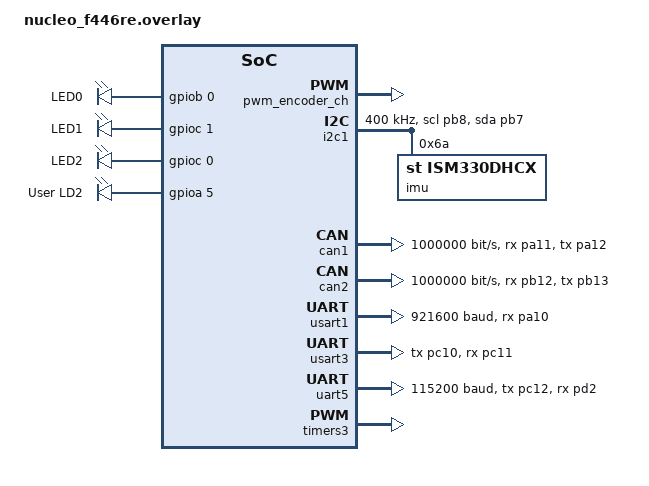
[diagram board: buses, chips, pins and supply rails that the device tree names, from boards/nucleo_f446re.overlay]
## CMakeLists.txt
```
cmake_minimum_required(VERSION 3.20.0)

set(CONF_FILE
    "${CMAKE_CURRENT_SOURCE_DIR}/../robots.conf"
    "${CMAKE_CURRENT_SOURCE_DIR}/prj.conf"
)

find_package(Zephyr REQUIRED HINTS $ENV{ZEPHYR_BASE})
project(Infantry)

add_subdirectory(${CMAKE_CURRENT_SOURCE_DIR}/../../core core_build)

target_sources(app PRIVATE src/infantry.cpp)
target_include_directories(app PRIVATE ${CMAKE_CURRENT_SOURCE_DIR}/../../core)

# Otherwise has trouble getting core since it's up a level on the directory
target_link_libraries(app PRIVATE core)
```

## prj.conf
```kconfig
# I commented everything out since everything in here was ported to robots.conf



# CONFIG_MAIN_STACK_SIZE=16384
# CONFIG_HEAP_MEM_POOL_SIZE=16384

# # SWO logging
# CONFIG_LOG=y
# CONFIG_LOG_BACKEND_SWO=y
# # Logs go to SWO only, not the console UART, will not show in serial monitor
# CONFIG_LOG_BACKEND_UART=n
# # Route printk through logging (and so to SWO)
# CONFIG_LOG_PRINTK=y
# # Don't block the 500 Hz control loop
# CONFIG_LOG_MODE_DEFERRED=y
# # 1.5 MHz, must match the SWO setting in Ozone
# CONFIG_LOG_BACKEND_SWO_FREQ_HZ=1500000
# # Needed for %f in LOG_* and printk
# CONFIG_CBPRINTF_FP_SUPPORT=y

# # enable GPIO subsystem
# CONFIG_GPIO=y

# # C++ config
# CONFIG_CPP=y
# CONFIG_STD_CPP17=y
# CONFIG_GLIBCXX_LIBCPP=y
# CONFIG_CPP_EXCEPTIONS=y

# # CAN
# CONFIG_CAN=y

# #I2C
# CONFIG_I2C=y

# #PWM
# CONFIG_PWM=y
# CONFIG_PWM_CAPTURE=y

# #UART
# CONFIG_SERIAL=y
# CONFIG_UART_INTERRUPT_DRIVEN=y
# CONFIG_DMA=y
# CONFIG_UART_ASYNC_API=y

# #Power Management
# CONFIG_PM=n
# CONFIG_PM_DEVICE=y

# #Asserts
# CONFIG_ASSERT=y

# # CONFIG_HW_STACK_PROTECTION=y
# # CONFIG_MPU_STACK_GUARD=y

# # CONFIG_THREAD_STACK_INFO=y
# # CONFIG_THREAD_ANALYZER=y
# # CONFIG_THREAD_ANALYZER_AUTO=y
# # CONFIG_THREAD_ANALYZER_AUTO_INTERVAL=5

# # CONFIG_STACK_SENTINEL=y

# # CONFIG_DEBUG_COREDUMP=y
# # CONFIG_DEBUG_COREDUMP_BACKEND_LOGGING=y
# # CONFIG_DEBUG_COREDUMP_MEMORY_DUMP_MIN=y
# CONFIG_PRINTK=y
# CONFIG_CBPRINTF_FP_SUPPORT=y
```

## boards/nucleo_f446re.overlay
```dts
// Something to consider is what the diff is between using either of these clocks

// &clk_hsi {
//     status = "okay";
// };

// &clk_hse {
//     status = "disabled";
// };

// &pll {
//     clocks = <&clk_hsi>;
//     div-m = <16>;
//     mul-n = <384>;
//     div-p = <4>;
//     status = "okay";
// };

&clk_hse { status = "okay"; };
&clk_hsi { status = "disabled"; };
&pll { clocks = <&clk_hse>; };

&dma1 {
    status = "disabled";
};

&dma2 {
    status = "okay";
};

&i2c1 {
    pinctrl-0 = <&i2c1_scl_pb8 &i2c1_sda_pb7>;
    pinctrl-names = "default";
    status = "okay";
    clock-frequency = <400000>;

    imu: ism330@6a {
        compatible = "st,ism330dhcx";
        reg = <0x6a>;
    };
};

&can1 {
    pinctrl-0 = <&can1_rx_pa11 &can1_tx_pa12>;
    pinctrl-names = "default";
    status = "okay";
    bitrate = <1000000>;
};

&can2 {
    pinctrl-0 = <&can2_rx_pb12 &can2_tx_pb13>;
    pinctrl-names = "default";
    status = "okay";
    bitrate = <1000000>;
};

&usart1 { //Controller
    pinctrl-0 = <&usart1_rx_pa10>; // tx isn't connected because this is the controller
    pinctrl-names = "default";
    status = "okay";
    current-speed = <921600>;

    dmas = <&dma2 2 4 STM32_DMA_PERIPH_RX STM32_DMA_FIFO_FULL>;
        dma-names = "rx";
};

&usart3 { //Ref
    pinctrl-0 = <&usart3_tx_pc10 &usart3_rx_pc11>;
    pinctrl-names = "default";
    status = "okay";
};

&uart5 {
    pinctrl-0 = <&uart5_tx_pc12 &uart5_rx_pd2>;
    pinctrl-names = "default";
    status = "okay";
    current-speed = <115200>;
};

&timers3 { // Encoder | PWM is done thru timer node, PB_4 is timer3 channel 1
    status = "okay";
    st,prescaler = <3>;   // tune below

    pwm3: pwm {
        compatible = "st,stm32-pwm";
        status = "okay";
        pinctrl-0 = <&tim3_ch1_pb4>;
        pinctrl-names = "default";
        #pwm-cells = <3>;
    };
};

/ {
    pwm_encoder_ch: zephyr,user { //Node has to be named "zephyr,user" so it compiles
        pwms = <&pwm3 1 PWM_MSEC(20) PWM_POLARITY_NORMAL>;
        status = "okay";
    };
};

&i2c3 {
	status = "disabled";
};

/* The sigular slash below indicates that we're just making a new node
Unlike the ones above, which were already declared for us in the
root dts file Zephyr has for us, this LED node is specific to us */
/ {
    leds {
        compatible = "gpio-leds";
        led0: led_0 {
            gpios = <&gpiob 0 GPIO_ACTIVE_HIGH>;
            label = "LED0";
        };
        led1: led_1 {
            gpios = <&gpioc 1 GPIO_ACTIVE_HIGH>;
            label = "LED1";
        };
        led2: led_2 {
            gpios = <&gpioc 0 GPIO_ACTIVE_HIGH>;
            label = "LED2";
        };

        LD2: LD_2 {
            gpios = <&gpioa 5 GPIO_ACTIVE_HIGH>;
            label = "User LD2";
        };
    };

    aliases {
        //Left hand side lives in a diff namespace than right hand side
        //So this doesn't break everything I swear
        led0 = &led0;
        led1 = &led1;
        led2 = &led2;
    };
};

  &gpiob {
       status = "okay";
   };

   &gpioc {
       status = "okay";
   };
```

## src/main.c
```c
#include <zephyr/kernel.h>
#include <zephyr/drivers/gpio.h>
#include <stdio.h>


const struct device *gpio_devb = DEVICE_DT_GET(DT_NODELABEL(gpiob));
const struct device *gpio_devc= DEVICE_DT_GET(DT_NODELABEL(gpioc));

int main(void)
{
    if (!device_is_ready(gpio_devb) || !device_is_ready(gpio_devc)) {
        printf("GPIO device not ready!\n");
        return 0;
    }

    gpio_pin_configure(gpio_devb, 0, GPIO_OUTPUT);
    gpio_pin_configure(gpio_devc, 1, GPIO_OUTPUT);
    gpio_pin_configure(gpio_devc, 0, GPIO_OUTPUT);
    int timer = 0;

    while(1) {
        timer++;
        if (timer % 50 == 0) {
            gpio_pin_toggle(gpio_devb, 0);
        }

        if (timer % 200 == 0) {
            gpio_pin_toggle(gpio_devc, 1);
        }

        if (timer % 500 == 0) {
            gpio_pin_toggle(gpio_devc, 0);
        }

        k_usleep(1000);
    }
}
```

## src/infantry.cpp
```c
// #include "stm32f446xx.h"
#include <zephyr/drivers/i2c.h>
#include <zephyr/drivers/pwm.h>
#include <zephyr/kernel.h>
#include <zephyr/drivers/gpio.h>
#include <zephyr/device.h>
#include <zephyr/devicetree.h>
#include <stdio.h>
#include <util/communications/DJIRemote2.h>
#include <util/communications/CANHandler.h>
#include <util/communications/jetson/Jetson.h>
#include <util/peripherals/imu/ISM330.h>
#include <util/algorithms/PID.h>
#include <base_robot/BaseRobot.h>
#include <zephyr/dt-bindings/pwm/pwm.h>
#include <zephyr/logging/log.h>
#include <algorithm>
#include <zephyr/sys/printk.h>

// LOG_MODULE_REGISTER(infantry, LOG_LEVEL_INF);   // This basically sets the log level of infantry to "INFormation"
                                                // Infantry logs should be preceeded with "infantry"

// Robot Constants
constexpr float PITCH_LOWER_BOUND{-22.0};
constexpr float PITCH_UPPER_BOUND{25.0};

constexpr float JOYSTICK_YAW_SENSITIVITY_DPS = 300;
constexpr float JOYSTICK_PITCH_SENSITIVITY_DPS = 150;
// Mouse sensitivity initialized
constexpr float MOUSE_SENSITIVITY_YAW_DPS = 1.0;
constexpr float MOUSE_SENSITIVITY_PITCH_DPS = 1.0;

// constexpr PID::config YAW_VEL_PID     = {181, 3.655 * 10e-3, 4.51 * 7.5, 32000, 1000};
constexpr PID::config YAW_VEL_PID     = {181,0,10.0f, 32000, 1000};
constexpr PID::config YAW_POS_PID     = {1, 0, 0, 45, 2};
const float yaw_static_friction       = 0;//-150;       // We multiply it by dir
const float yaw_kinetic_friction      = 0;       // We multiply this by yawvelo

constexpr PID::config PITCH_VEL_PID   = {173.8994f, 4.898f * 1000.0f * static_cast<float>(10e-6), 12.474f * static_cast<float>(10e3) * 1.5f / 1000.0f, 16000, 2000}; //{25, 0.001, 5, 16000, 1000};
// constexpr PID::config PITCH_VEL_PID = {170, 0, 1200, 16000,2000}; //{25, 0.001, 5, 16000, 1000};
constexpr PID::config PITCH_POS_PID   = {1, 0, 0,30,2}; //{1, 0, 0, 30, 2};
const float pitch_gravity_feedforward = -1200;    // We multiply this by cos(angle)
const float pitch_static_friction     = 0;       // We multiply it by dir
const float pitch_kinetic_friction    = 0; //5.5;     // We multiply this by pitchvelo

constexpr PID::config FL_VEL_CONFIG = {3, 0, 0};
constexpr PID::config FR_VEL_CONFIG = {3, 0, 0};
constexpr PID::config BL_VEL_CONFIG = {3, 0, 0};
constexpr PID::config BR_VEL_CONFIG = {3, 0, 0};

constexpr PID::config FLYWHEEL_L_PID = {7.1849, 0.000042634, 0};
constexpr PID::config FLYWHEEL_R_PID = {7.1849, 0.000042634, 0};
constexpr PID::config INDEXER_PID_VEL = {2.7, 0.001, 0};
constexpr PID::config INDEXER_PID_POS = {0.1, 0, 0.001};


const struct device *gpio_devb = DEVICE_DT_GET(DT_NODELABEL(gpiob));
const struct device *gpio_devc= DEVICE_DT_GET(DT_NODELABEL(gpioc));

// Devices from DT

const struct device *canbus1_dev = DEVICE_DT_GET(DT_NODELABEL(can1));

const struct device *canbus2_dev = DEVICE_DT_GET(DT_NODELABEL(can2));
constexpr short yaw_id = 3;
constexpr short pitch_id = 5;

const struct gpio_dt_spec led0_dev = GPIO_DT_SPEC_GET(DT_ALIAS(led0), gpios);
const struct gpio_dt_spec led1_dev = GPIO_DT_SPEC_GET(DT_ALIAS(led1), gpios);
const struct gpio_dt_spec led2_dev = GPIO_DT_SPEC_GET(DT_ALIAS(led2), gpios);


static const struct i2c_dt_spec imu_spec = I2C_DT_SPEC_GET(DT_NODELABEL(imu));

static const struct pwm_dt_spec encoderSpec = PWM_DT_SPEC_GET(DT_NODELABEL(pwm_encoder_ch));
static const struct device *controllerUart = DEVICE_DT_GET(DT_NODELABEL(usart1));
static const struct device *refUartDev = DEVICE_DT_GET(DT_NODELABEL(usart3));
// DJIRemote2 controller(controllerUart);

static const struct device *jetsonUart = DEVICE_DT_GET(DT_NODELABEL(uart5));

// Subsystem Configs
TurretSubsystem::config turret_config = {
    canbus1_dev,
    CANHandler::CANBUS_1,
    yaw_id,
    M3508,
    canbus2_dev,
    CANHandler::CANBUS_2, // TODO: Ideally we could grab canbus thru the device
    pitch_id,
    M3508,
    YAW_VEL_PID,
    YAW_POS_PID,
    PITCH_VEL_PID,
    PITCH_POS_PID,
    yaw_static_friction,
    yaw_kinetic_friction,
    pitch_gravity_feedforward,
    pitch_static_friction,
    pitch_kinetic_friction,
    1,
    1.0/3.0,
    PITCH_LOWER_BOUND,
    PITCH_UPPER_BOUND
};
ShooterSubsystem::config shooter_config = {
    canbus2_dev,
    CANHandler::CANBUS_2,
    ShooterSubsystem::BURST,
    0,
    2,
    4,
    6,
    FLYWHEEL_L_PID,
    FLYWHEEL_R_PID,
    INDEXER_PID_VEL,
    INDEXER_PID_POS,
    false
};

// State variables
ChassisSpeeds des_chassis_state;
TurretSubsystem::TurretInfo des_turret_state;
ShootState des_shoot_state;

float pitch_desired_angle = 0.0;
float yaw_desired_angle = 0.0;
float dt_global = 0.0;

IMU::EulerAngles imuAngles;

class Infantry : public BaseRobot {
  public:
    ISM330 imu_;
    MA4 encoder_;  
    // BufferedSerial jetson_raw_serial;
    Jetson jetson;

    Jetson::WriteState stm_state;
    Jetson::ReadState jetson_state;

    TurretSubsystem turret_;
    ShooterSubsystem shooter_;
    ChassisSubsystem chassis_;

    bool imu_initialized{false};

    Infantry(Config &config)
        : BaseRobot(config),
          // clang-format off
        imu_(imu_spec),
        // encoder_(PB_4),
        encoder_(&encoderSpec),

        // jetson_raw_serial(PC_12, PD_2,115200),
        // jetson(jetson_raw_serial),
        jetson(jetsonUart),
        turret_(turret_config, imu_),
        shooter_(shooter_config),

        // TODO add passing in individual PID objects for the motors
        chassis_(ChassisSubsystem::Config{
            .left_front_can_id = 5,      
            .right_front_can_id = 1,      
            .left_back_can_id = 2,      
            .right_back_can_id = 4,      
            .radius = 0.22617,  
            .speed_pid_ff_ks = 0.065,    
            .yaw_initial_offset_ticks = 232.0f, // Note that for now this is in degrees     
            .imu = imu_,
            .encoder = &encoder_   
        }
        )
    // clang-format on
    {
        // pin_mode(IMU_I2C_SCL, PinMode::OpenDrainPullUp);
        // pin_mode(IMU_I2C_SDA, PinMode::OpenDrainPullUp);
    }

    ~Infantry() {}

    void init() override {
        // timer = us_ticker_read();
        if (!device_is_ready(controllerUart)) {
            printf("[ERROR] controllerUart (usart1) not ready!\n");
            }
        imu_.begin(0.9, 0);
        encoder_.init();
    }

    void periodic(unsigned long dt_us) override {
        // TODO this should be threaded inside imu instead
        imu_.mahonyUpdateIMU(dt_us / 1000000.0);
        imuAngles = imu_.getImuAngles();
        // TODO: use this in code correctly to drive faster
        max_linear_vel = MAX_VEL;
        des_chassis_state.vX = jy * max_linear_vel;
        des_chassis_state.vY = jx * max_linear_vel;

        // Read jetson
        jetson_state = jetson.read();
        // check if new jetson state given and if we want cv
        if (cv_enabled_ && (now_us() - jetson_state.stamp_us ) / 1000 < 500) {
            yaw_desired_angle = jetson_state.desired_yaw_rads * 180 / PI;
            pitch_desired_angle = jetson_state.desired_pitch_rads * 180 / PI;
        }

        // Turret from remote
        yaw_desired_angle -= myaw * 0.01f;
        yaw_desired_angle -= jyaw * JOYSTICK_YAW_SENSITIVITY_DPS * dt_us / 1000000;
        yaw_desired_angle = capAngle(yaw_desired_angle);
        des_turret_state.yaw_angle_degs = yaw_desired_angle;

        pitch_desired_angle -= mpitch * 0.01f;
        pitch_desired_angle -= jpitch * JOYSTICK_PITCH_SENSITIVITY_DPS * dt_us / 1000000;
        pitch_desired_angle = std::clamp(pitch_desired_angle, PITCH_LOWER_BOUND, PITCH_UPPER_BOUND);
        des_turret_state.pitch_angle_degs = pitch_desired_angle;

        // Chassis logic
        if (drive == 'u' || (drive == 'o' && remote_.getMode() == DJIRemote2::ModeSwitch::MODE_N)) {
            des_chassis_state.vOmega = 0;
            chassis_.setChassisSpeeds(des_chassis_state, ChassisSubsystem::DRIVE_MODE::YAW_ORIENTED);
            des_turret_state.turret_mode = TurretState::AIM;
            referee_.is_aligned = false;
            referee_.is_cv_on = false;
            referee_.is_spinning = false;
        }  else if (drive == 'd' || 
                   (drive == 'o' &&
                    remote_.getMode() == DJIRemote2::ModeSwitch::MODE_S)) {
            des_chassis_state.vOmega = omega_speed;
            chassis_.setChassisSpeeds(des_chassis_state, ChassisSubsystem::DRIVE_MODE::YAW_ORIENTED);
            des_turret_state.turret_mode = TurretState::AIM;
            referee_.is_aligned = false;
            referee_.is_cv_on = false;
            referee_.is_spinning = true;
        } else {
            chassis_.setWheelPower({0, 0, 0, 0});
            des_turret_state.turret_mode = TurretState::SLEEP;
            des_turret_state.yaw_angle_degs = turret_.getState().yaw_angle_degs;
            yaw_desired_angle = turret_.getState().yaw_angle_degs;
            des_turret_state.pitch_angle_degs = 0;
            referee_.is_aligned = false;
            referee_.is_cv_on = false;
            referee_.is_spinning = false;
        }

        // Shooter Logic 
        //REMOVED remote_.PAUSEToggled() == true && FROM THE FIRST CONDITION
        if ((remote_.PAUSEToggled() == true && remote_.TriggerPressed() == true) || remote_.getMouseL()) {
            des_shoot_state = ShootState::SHOOT;
        } else if (remote_.CUSTRPressed() == true && remote_.PAUSEToggled() == true) {
            des_shoot_state = ShootState::JAM;
        } else if (remote_.PAUSEToggled() == true || shot == 'd') {
            des_shoot_state = ShootState::FLYWHEEL;
            referee_.is_flywheel_on = true;
        } else {
            des_shoot_state = ShootState::OFF;
            referee_.is_flywheel_on = false;
        }

        turret_.setState(des_turret_state);
        shooter_.setState(des_shoot_state);

        turret_.periodic(chassis_.getChassisSpeeds().vOmega * 60 / (2 * PI));

        float lim = referee_.robot_status.chassis_power_limit;

        if (lim <= 0) {
            lim = 80;
        } 
        chassis_.power_limit = lim;
        
        
        chassis_.periodic(&imuAngles);
        shooter_.periodic(referee_.power_heat_data.shooter_17mm_barrel_heat,
                         referee_.robot_status.shooter_barrel_heat_limit);

        // jetson comms
        set_jetson_state();
        jetson.write(stm_state);

        // printf("time %.4f\n", dt_us / 1000000.0);

        // Debug print statements
        // printf("des: %.2f, %.2f, %.2f %d \n", jetson.read().desired_x_vel,
        // jetson.read().desired_y_vel, jetson.read().desired_angular_vel,
        // jetson.read().localization_calibration); printf("y: %.2f\n",
        // turret.getState().yaw_angle); printf("p: %.2f\n",
        // turret.getState().pitch_angle + remote_.getPitch()); printf("p:
        // %.2f\n", turret.getState().pitch_angle); printf("%d\n",
        // shooter.getState()); printf("v:%d\n",testmot>>VELOCITY); printf("cx:
        // %.2f\n", remote_.getChassisX()); printf("switch: %d\n",
        // remote_.getSwitch(Remote::Switch::RIGHT_SWITCH));
        // %.2f\n", imu.getImuAngles().yaw);
        // printf("%d\n", referee_.get_game_progress());
        // printf("yp %.2f \n", encoder_.encoderMovingAverage());
        // printf("%.2f, %.2f, %.2f\n", imuAngles.roll, imuAngles.pitch, imuAngles.yaw);
        // printf("remote state: %d\n", remote_.getMode());
        // printf("remote jx: %.2f, jy: %.2f, jpitch: %.2f, jyaw: %.2f\n", jx, jy, jpitch, jyaw);
        // remote_.printMissedPackets();
        // printf("Chassis motor speeds: %.2f, %.2f, %.2f, %.2f\n", chassis_.getMotorSpeed(ChassisSubsystem::LEFT_FRONT, ChassisSubsystem::METER_PER_SECOND), chassis_.getMotorSpeed(ChassisSubsystem::RIGHT_FRONT, ChassisSubsystem::METER_PER_SECOND), chassis_.getMotorSpeed(ChassisSubsystem::LEFT_BACK, ChassisSubsystem::METER_PER_SECOND), chassis_.getMotorSpeed(ChassisSubsystem::RIGHT_BACK, ChassisSubsystem::METER_PER_SECOND));
        // printf("Chassis speeds: %.2f, %.2f, %.2f, %.2f\n", chassis_.LF.getData(VELOCITY), chassis_.RF.getData(VELOCITY), chassis_.LB.getData(VELOCITY), chassis_.RB.getData(VELOCITY));
    }

    void end_of_loop() override {}

    unsigned int main_loop_dt_ms() override { return 2; } // 500 Hz loop

    void set_jetson_state() {
        stm_state.activate_CV = cv_enabled_;
        stm_state.game_state = referee_.get_game_progress();
        stm_state.robot_hp = referee_.get_remain_hp();
        stm_state.team_color = referee_.is_red_or_blue();

        stm_state.chassis_x_velocity = chassis_.getChassisSpeeds().vX;
        stm_state.chassis_y_velocity = chassis_.getChassisSpeeds().vY;
        stm_state.chassis_rotation = chassis_.getChassisSpeeds().vOmega;

        stm_state.yaw_angle_rads = degreesToRadians(turret_.getState().yaw_angle_degs);
        stm_state.yaw_velocity = degreesToRadians(turret_.getState().yaw_velo_rad_s);
        stm_state.pitch_angle_rads = degreesToRadians(turret_.getState().pitch_angle_degs);
        stm_state.pitch_velocity = degreesToRadians(turret_.getState().pitch_velo_rad_s);
    }
};


int main(void)
{
    printf("HELLO\n");
    
    // I'm sure there's a cleaner way to do this but for now it's getting set in main
    BaseRobot::Config config = BaseRobot::Config{};
    config.led0_dev = &led0_dev;
    config.led1_dev = &led1_dev;
    config.led2_dev = &led2_dev;
    config.controller_uart_dev = controllerUart;
    config.referee_uart_dev = refUartDev;
    static Infantry infantry(config);




    infantry.main_loop();
    // // blocking
}
```
